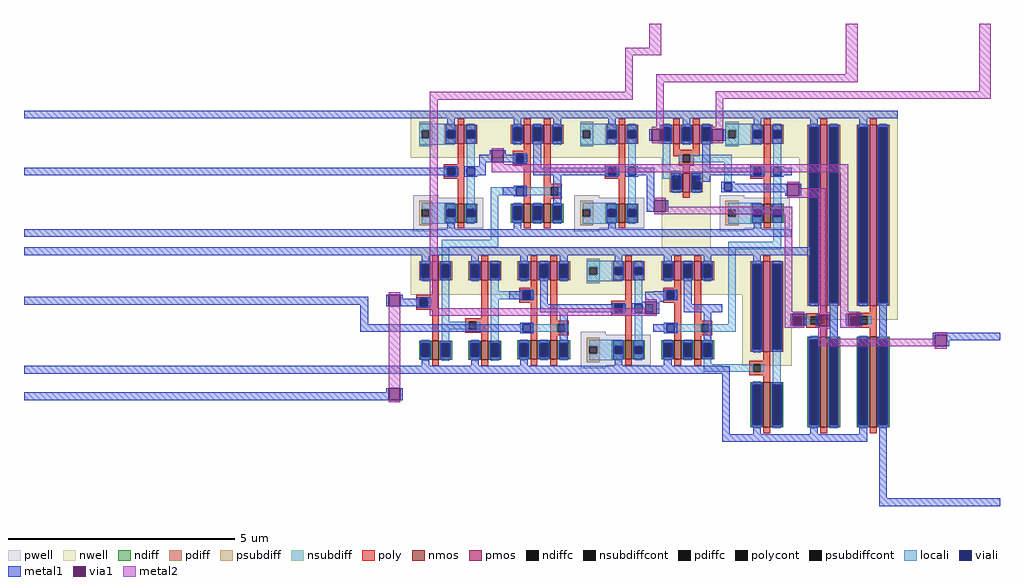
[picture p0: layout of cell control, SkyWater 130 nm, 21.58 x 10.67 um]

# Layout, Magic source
magic
tech sky130A
magscale 1 2
<< nwell >>
rect 301 918 377 1126
rect 1013 1012 1184 1126
rect 1013 918 1043 1012
rect 1045 918 1168 1012
rect 1080 912 1298 918
rect 1655 917 1689 1126
rect 1080 521 1298 710
rect 1348 520 1437 521
rect 1348 312 1436 520
rect 1654 202 1688 521
rect 1772 234 1806 783
<< poly >>
rect 1130 932 1248 954
rect 1130 924 1172 932
rect 1156 898 1172 924
rect 1206 924 1248 932
rect 1206 898 1221 924
rect 1156 882 1221 898
rect 1173 876 1204 882
rect 65 312 95 349
rect -6 295 95 312
rect -6 261 11 295
rect 45 261 95 295
rect -6 245 95 261
rect 65 121 95 245
rect 283 209 313 349
rect 1782 231 1812 238
rect 2000 232 2030 238
rect 211 193 313 209
rect 211 159 227 193
rect 261 159 313 193
rect 1720 215 1812 231
rect 1720 181 1736 215
rect 1770 181 1812 215
rect 1720 165 1812 181
rect 1941 216 2030 232
rect 1941 182 1958 216
rect 1992 182 2030 216
rect 1941 166 2030 182
rect 211 143 313 159
rect 1782 152 1812 165
rect 2000 152 2030 166
rect 283 135 313 143
rect 1530 21 1560 34
rect 1468 5 1560 21
rect 1468 -29 1484 5
rect 1518 -29 1560 5
rect 1468 -45 1560 -29
rect 1530 -48 1560 -45
<< polycont >>
rect 1172 898 1206 932
rect 11 261 45 295
rect 227 159 261 193
rect 1736 181 1770 215
rect 1958 182 1992 216
rect 1484 -29 1518 5
<< locali >>
rect 1084 860 1118 976
rect 1156 898 1172 932
rect 1206 898 1390 932
rect 1084 854 1162 860
rect 1084 826 1152 854
rect 1356 806 1390 898
rect 323 753 425 787
rect 323 555 357 753
rect 107 521 357 555
rect 1574 547 1608 627
rect 107 463 141 521
rect 1374 513 1608 547
rect -6 261 11 295
rect 45 261 61 295
rect 107 193 141 371
rect 325 327 359 371
rect 325 293 450 327
rect 107 159 227 193
rect 261 159 277 193
rect 107 113 141 159
rect 325 113 359 293
rect 1374 182 1408 513
rect 1304 148 1408 182
rect 1699 181 1736 215
rect 1770 181 1786 215
rect 1824 130 1858 260
rect 1947 182 1958 216
rect 1992 182 2008 216
rect 2042 130 2076 260
rect 1266 5 1300 23
rect 1266 -29 1484 5
rect 1518 -29 1534 5
rect 1572 -70 1606 56
<< viali >>
rect 1356 772 1390 806
rect 11 261 45 295
rect 1665 181 1699 215
rect 1913 182 1947 216
<< metal1 >>
rect -1740 1092 -29 1126
rect 301 1092 377 1126
rect 1013 1092 1328 1126
rect 1354 1092 2124 1126
rect 1172 1064 1206 1092
rect 1736 1064 1770 1092
rect 1954 1064 1988 1092
rect 1026 992 1036 1044
rect 1089 992 1099 1044
rect 1290 992 1300 1044
rect 1353 992 1363 1044
rect 319 932 329 950
rect 273 898 329 932
rect 381 898 391 950
rect 273 880 301 898
rect 265 874 301 880
rect 1260 874 1294 980
rect -1740 840 -29 874
rect 273 870 301 874
rect 1013 678 1047 874
rect 1260 850 1326 874
rect 1232 840 1326 850
rect 1232 812 1294 840
rect 1344 806 1402 812
rect 1344 772 1356 806
rect 1390 802 1402 806
rect 1390 772 1636 802
rect 1344 766 1636 772
rect 1626 750 1636 766
rect 1688 750 1698 802
rect 1099 678 1109 730
rect -1740 568 -29 602
rect 301 568 377 602
rect 1013 568 1326 602
rect -1740 487 407 521
rect 1348 487 1730 521
rect 19 459 53 487
rect 237 459 271 487
rect 1484 458 1518 487
rect -1740 268 -218 302
rect -252 182 -218 268
rect -138 261 -128 313
rect -76 295 -66 313
rect -1 295 57 301
rect -76 261 11 295
rect 45 261 57 295
rect 1008 293 1042 326
rect 1008 281 1090 293
rect -1 255 57 261
rect 997 229 1007 281
rect 1059 229 1069 281
rect -252 148 406 182
rect 1648 175 1658 227
rect 1710 175 1720 227
rect 1762 172 1772 224
rect 1824 126 1858 264
rect 1894 175 1904 227
rect 1956 175 1966 227
rect 2042 126 2076 264
rect 2278 136 2576 145
rect 2278 84 2288 136
rect 2341 111 2576 136
rect 2341 84 2351 111
rect 19 -3 53 25
rect 237 -3 271 25
rect -1740 -37 444 -3
rect -138 -120 -128 -102
rect -1740 -154 -128 -120
rect -76 -154 -66 -102
rect 1348 -305 1382 -4
rect 1484 -305 1518 -274
rect 1736 -305 1770 -274
rect 1954 -305 1988 -274
rect 1348 -339 1988 -305
rect 2042 -589 2076 -274
rect 2042 -623 2576 -589
<< via1 >>
rect 1036 992 1089 1044
rect 1300 992 1353 1044
rect 329 898 381 950
rect 1636 750 1688 802
rect 1047 678 1099 730
rect -128 261 -76 313
rect 1007 229 1059 281
rect 1658 215 1710 227
rect 1658 181 1665 215
rect 1665 181 1699 215
rect 1699 181 1710 215
rect 1658 175 1710 181
rect 1772 172 1824 224
rect 1904 216 1956 227
rect 1904 182 1913 216
rect 1913 182 1947 216
rect 1947 182 1956 216
rect 1904 175 1956 182
rect 2288 84 2341 136
rect -128 -154 -76 -102
<< metal2 >>
rect 1025 1404 1077 1510
rect 918 1370 1077 1404
rect 918 1209 952 1370
rect 1894 1286 1946 1510
rect 55 1175 952 1209
rect 1055 1252 1946 1286
rect 1055 1178 1090 1252
rect 2484 1212 2536 1510
rect 1319 1178 2536 1212
rect -128 313 -76 323
rect -128 -102 -76 261
rect 55 253 89 1175
rect 1055 1054 1089 1178
rect 1319 1054 1353 1178
rect 1036 1044 1089 1054
rect 1036 982 1089 992
rect 1300 1044 1353 1054
rect 1300 982 1353 992
rect 329 950 381 960
rect 329 889 381 898
rect 329 854 1904 889
rect 1636 802 1688 812
rect 1688 750 1806 783
rect 1636 740 1806 750
rect 1047 730 1099 740
rect 1099 678 1658 702
rect 1047 668 1658 678
rect 1007 281 1059 291
rect 55 229 1007 253
rect 55 219 1059 229
rect 1624 237 1658 668
rect 1624 227 1710 237
rect 1624 175 1658 227
rect 1624 165 1710 175
rect 1772 234 1806 740
rect 1870 237 1904 854
rect 1772 224 1824 234
rect 1772 162 1824 172
rect 1870 227 1956 237
rect 1870 175 1904 227
rect 1870 165 1956 175
rect 1772 118 1806 162
rect 2288 136 2341 146
rect 1772 84 2288 118
rect 2288 74 2341 84
rect -128 -164 -76 -154
use sky130_fd_pr__nfet_01v8_A6LSUL  m1
transform 1 0 80 0 1 67
box -73 -68 73 68
use sky130_fd_pr__pfet_01v8_4Y88KP  m2
transform 1 0 80 0 1 417
box -109 -104 109 104
use sky130_fd_pr__nfet_01v8_A6LSUL  m3
transform 1 0 298 0 1 67
box -73 -68 73 68
use sky130_fd_pr__pfet_01v8_4Y88KP  m4
transform 1 0 298 0 1 417
box -109 -104 109 104
use sky130_fd_pr__pfet_01v8_4Y88KP  m5
transform 1 0 1189 0 1 808
box -109 -104 109 104
use sky130_fd_pr__pfet_01v8_54MHNA  m6
transform 1 0 1797 0 1 664
box -109 -462 109 462
use sky130_fd_pr__nfet_01v8_JB3UY8  m7
transform 1 0 1797 0 1 -74
box -73 -226 73 226
use sky130_fd_pr__pfet_01v8_54MHNA  m8
transform 1 0 2015 0 1 664
box -109 -462 109 462
use sky130_fd_pr__nfet_01v8_JB3UY8  m9
transform 1 0 2015 0 1 -74
box -73 -226 73 226
use nand2_f  nand2_f_0 ~/Desktop/FabRAM/FE/sram130/nand2
transform 1 0 406 0 1 -175
box 0 138 306 696
use nand2_f  nand2_f_1
transform 1 0 1042 0 1 -175
box 0 138 306 696
use nand2_f  nand2_f_2
transform 1 0 377 0 1 430
box 0 138 306 696
use not_f  not_f_0 ~/Desktop/FabRAM/FE/sram130/not
transform 1 0 712 0 1 -175
box 0 138 330 696
use not_f  not_f_1
transform 1 0 -29 0 1 430
box 0 138 330 696
use not_f  not_f_2
transform 1 0 683 0 1 430
box 0 138 330 696
use not_f  not_f_3
transform 1 0 1326 0 1 430
box 0 138 330 696
use sky130_fd_pr__nfet_01v8_L8ATA9  sky130_fd_pr__nfet_01v8_L8ATA9_0
transform 1 0 1545 0 1 -174
box -73 -126 73 126
use sky130_fd_pr__pfet_01v8_4Y88KP  sky130_fd_pr__pfet_01v8_4Y88KP_0
transform -1 0 1145 0 1 1022
box -109 -104 109 104
use sky130_fd_pr__pfet_01v8_4Y88KP  sky130_fd_pr__pfet_01v8_4Y88KP_1
transform 1 0 1233 0 1 1022
box -109 -104 109 104
use sky130_fd_pr__pfet_01v8_5YUHNA  sky130_fd_pr__pfet_01v8_5YUHNA_0
transform 1 0 1545 0 1 259
box -109 -262 109 262
<< end >>

# cell sky130_fd_pr__nfet_01v8_A6LSUL: kit device sky130_fd_pr__nfet_01v8, w 0.420 l 0.150 m 1 nf 1 diffcov 100 polycov 100 guard 0 glc 0 grc 0 gtc 0 gbc 0 tbcov 100 rlcov 100 topc 0 botc 0 poverlap 0 doverlap 0 lmin 0.15 wmin 0.42 compatible {sky130_fd_pr__nfet_01v8 sky130_fd_pr__nfet_01v8_lvt sky130_fd_bs_flash__special_sonosfet_star sky130_fd_pr__nfet_g5v0d10v5 sky130_fd_pr__nfet_05v0_nvt sky130_fd_pr__nfet_03v3_nvt} full_metal 0 viasrc 100 viadrn 100 viagate 100 viagb 0 viagr 0 viagl 0 viagt 0

# cell sky130_fd_pr__pfet_01v8_4Y88KP: kit device sky130_fd_pr__pfet_01v8, w 0.42 l 0.15 m 1 nf 1 diffcov 100 polycov 100 guard 0 glc 0 grc 0 gtc 0 gbc 0 tbcov 100 rlcov 100 topc 0 botc 0 poverlap 0 doverlap 0 lmin 0.15 wmin 0.42 compatible {sky130_fd_pr__pfet_01v8 sky130_fd_pr__pfet_01v8_lvt sky130_fd_pr__pfet_01v8_hvt sky130_fd_pr__pfet_g5v0d10v5} full_metal 0 viasrc 100 viadrn 100 viagate 100 viagb 0 viagr 0 viagl 0 viagt 0

# cell sky130_fd_pr__pfet_01v8_54MHNA: kit device sky130_fd_pr__pfet_01v8, w 4 l 0.15 m 1 nf 1 diffcov 100 polycov 100 guard 0 glc 0 grc 0 gtc 0 gbc 0 tbcov 100 rlcov 100 topc 0 botc 0 poverlap 0 doverlap 0 lmin 0.15 wmin 0.42 compatible {sky130_fd_pr__pfet_01v8 sky130_fd_pr__pfet_01v8_lvt sky130_fd_pr__pfet_01v8_hvt sky130_fd_pr__pfet_g5v0d10v5} full_metal 0 viasrc 100 viadrn 100 viagate 100 viagb 0 viagr 0 viagl 0 viagt 0

# cell sky130_fd_pr__nfet_01v8_JB3UY8: kit device sky130_fd_pr__nfet_01v8, w 2 l 0.150 m 1 nf 1 diffcov 100 polycov 100 guard 0 glc 0 grc 0 gtc 0 gbc 0 tbcov 100 rlcov 100 topc 0 botc 0 poverlap 0 doverlap 0 lmin 0.15 wmin 0.42 compatible {sky130_fd_pr__nfet_01v8 sky130_fd_pr__nfet_01v8_lvt sky130_fd_bs_flash__special_sonosfet_star sky130_fd_pr__nfet_g5v0d10v5 sky130_fd_pr__nfet_05v0_nvt sky130_fd_pr__nfet_03v3_nvt} full_metal 0 viasrc 100 viadrn 100 viagate 100 viagb 0 viagr 0 viagl 0 viagt 0

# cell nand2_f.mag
magic
tech sky130A
magscale 1 2
<< nwell >>
rect 0 488 306 696
<< nmos >>
rect 94 201 124 285
rect 182 201 212 285
<< pmos >>
rect 94 550 124 634
rect 182 550 212 634
<< ndiff >>
rect 36 273 94 285
rect 36 213 48 273
rect 82 213 94 273
rect 36 201 94 213
rect 124 273 182 285
rect 124 213 136 273
rect 170 213 182 273
rect 124 201 182 213
rect 212 273 270 285
rect 212 213 224 273
rect 258 213 270 273
rect 212 201 270 213
<< pdiff >>
rect 36 622 94 634
rect 36 562 48 622
rect 82 562 94 622
rect 36 550 94 562
rect 124 622 182 634
rect 124 562 136 622
rect 170 562 182 622
rect 124 550 182 562
rect 212 622 270 634
rect 212 562 224 622
rect 258 562 270 622
rect 212 550 270 562
<< ndiffc >>
rect 48 213 82 273
rect 136 213 170 273
rect 224 213 258 273
<< pdiffc >>
rect 48 562 82 622
rect 136 562 170 622
rect 224 562 258 622
<< poly >>
rect 94 634 124 660
rect 182 634 212 660
rect 94 518 124 550
rect 44 502 124 518
rect 44 468 60 502
rect 94 468 124 502
rect 44 452 124 468
rect 94 285 124 452
rect 182 373 212 550
rect 182 357 262 373
rect 182 323 212 357
rect 246 323 262 357
rect 182 307 262 323
rect 182 285 212 307
rect 94 175 124 201
rect 182 175 212 201
<< polycont >>
rect 60 468 94 502
rect 212 323 246 357
<< locali >>
rect 48 622 82 638
rect 48 546 82 562
rect 136 622 170 638
rect 136 546 170 562
rect 224 622 258 638
rect 224 546 258 562
rect 44 468 60 502
rect 94 468 110 502
rect 48 323 60 357
rect 94 323 212 357
rect 246 323 262 357
rect 48 273 82 289
rect 48 197 82 213
rect 136 273 170 289
rect 136 197 170 213
rect 224 273 258 289
rect 224 197 258 213
<< viali >>
rect 48 562 82 622
rect 136 562 170 622
rect 224 562 258 622
rect 60 468 94 502
rect 60 323 94 357
rect 48 213 82 273
rect 136 213 170 273
rect 224 213 258 273
<< metal1 >>
rect 0 662 306 696
rect 48 634 82 662
rect 224 634 258 662
rect 42 622 88 634
rect 42 562 48 622
rect 82 562 88 622
rect 42 550 88 562
rect 130 622 176 634
rect 130 562 136 622
rect 170 562 176 622
rect 130 550 176 562
rect 218 622 264 634
rect 218 562 224 622
rect 258 562 264 622
rect 218 550 264 562
rect 48 502 106 508
rect 0 468 60 502
rect 94 468 106 502
rect 48 462 106 468
rect 136 444 170 550
rect 136 410 306 444
rect 48 357 106 363
rect 0 323 60 357
rect 94 323 106 357
rect 48 317 106 323
rect 224 285 258 410
rect 42 273 88 285
rect 42 213 48 273
rect 82 213 88 273
rect 42 201 88 213
rect 130 273 176 285
rect 130 213 136 273
rect 170 213 176 273
rect 130 201 176 213
rect 218 273 264 285
rect 218 213 224 273
rect 258 213 264 273
rect 218 201 264 213
rect 48 172 82 201
rect 0 138 306 172
<< labels >>
rlabel metal1 0 662 34 696 0 VDD
rlabel metal1 0 468 34 502 0 A
rlabel metal1 0 323 34 357 0 B
rlabel metal1 0 138 34 172 0 VSS
rlabel metal1 272 410 306 444 0 Y
<< end >>

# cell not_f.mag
magic
tech sky130A
magscale 1 2
<< nwell >>
rect 0 488 330 696
<< pwell >>
rect 10 311 120 323
rect 10 175 320 311
rect 10 163 120 175
<< nmos >>
rect 206 201 236 285
<< pmos >>
rect 206 550 236 634
<< ndiff >>
rect 148 260 206 285
rect 148 226 160 260
rect 194 226 206 260
rect 148 201 206 226
rect 236 260 294 285
rect 236 226 248 260
rect 282 226 294 260
rect 236 201 294 226
<< pdiff >>
rect 148 609 206 634
rect 148 575 160 609
rect 194 575 206 609
rect 148 550 206 575
rect 236 609 294 634
rect 236 575 248 609
rect 282 575 294 609
rect 236 550 294 575
<< ndiffc >>
rect 160 226 194 260
rect 248 226 282 260
<< pdiffc >>
rect 160 575 194 609
rect 248 575 282 609
<< psubdiff >>
rect 36 260 94 297
rect 36 226 48 260
rect 82 226 94 260
rect 36 189 94 226
<< nsubdiff >>
rect 36 609 94 646
rect 36 575 48 609
rect 82 575 94 609
rect 36 538 94 575
<< psubdiffcont >>
rect 48 226 82 260
<< nsubdiffcont >>
rect 48 575 82 609
<< poly >>
rect 206 634 236 660
rect 206 460 236 550
rect 145 444 236 460
rect 145 410 161 444
rect 195 410 236 444
rect 145 394 236 410
rect 206 285 236 394
rect 206 175 236 201
<< polycont >>
rect 161 410 195 444
<< locali >>
rect 36 609 194 638
rect 36 575 48 609
rect 82 575 160 609
rect 36 546 194 575
rect 248 609 282 638
rect 248 444 282 575
rect 145 410 161 444
rect 195 410 211 444
rect 48 260 194 289
rect 82 226 160 260
rect 48 197 194 226
rect 248 260 282 410
rect 248 197 282 226
<< viali >>
rect 160 575 194 609
rect 248 575 282 609
rect 161 410 195 444
rect 248 410 282 444
rect 160 226 194 260
rect 248 226 282 260
<< metal1 >>
rect 0 662 330 696
rect 160 634 194 662
rect 154 609 200 634
rect 154 575 160 609
rect 194 575 200 609
rect 154 550 200 575
rect 242 609 288 634
rect 242 575 248 609
rect 282 575 288 609
rect 242 550 288 575
rect 149 444 207 450
rect 0 410 161 444
rect 195 410 207 444
rect 149 404 207 410
rect 236 444 294 450
rect 236 410 248 444
rect 282 410 330 444
rect 236 404 294 410
rect 154 260 200 285
rect 154 226 160 260
rect 194 226 200 260
rect 154 201 200 226
rect 242 260 288 285
rect 242 226 248 260
rect 282 226 288 260
rect 242 201 288 226
rect 160 172 194 201
rect 0 138 330 172
<< labels >>
flabel metal1 s 296 410 330 444 0 FreeSans 44 0 0 0 B
port 1 nsew
flabel metal1 s 0 662 34 696 0 FreeSans 44 0 0 0 VDD
port 2 nsew
flabel metal1 s 0 410 34 444 0 FreeSans 44 0 0 0 A
port 3 nsew
flabel metal1 s 0 138 34 172 0 FreeSans 44 0 0 0 VSS
port 4 nsew
<< end >>

# cell sky130_fd_pr__nfet_01v8_L8ATA9: kit device sky130_fd_pr__nfet_01v8, w 1 l 0.150 m 1 nf 1 diffcov 100 polycov 100 guard 0 glc 0 grc 0 gtc 0 gbc 0 tbcov 100 rlcov 100 topc 0 botc 0 poverlap 0 doverlap 0 lmin 0.15 wmin 0.42 compatible {sky130_fd_pr__nfet_01v8 sky130_fd_pr__nfet_01v8_lvt sky130_fd_bs_flash__special_sonosfet_star sky130_fd_pr__nfet_g5v0d10v5 sky130_fd_pr__nfet_05v0_nvt sky130_fd_pr__nfet_03v3_nvt} full_metal 0 viasrc 100 viadrn 100 viagate 100 viagb 0 viagr 0 viagl 0 viagt 0

# cell sky130_fd_pr__pfet_01v8_5YUHNA: kit device sky130_fd_pr__pfet_01v8, w 2 l 0.15 m 1 nf 1 diffcov 100 polycov 100 guard 0 glc 0 grc 0 gtc 0 gbc 0 tbcov 100 rlcov 100 topc 0 botc 0 poverlap 0 doverlap 0 lmin 0.15 wmin 0.42 compatible {sky130_fd_pr__pfet_01v8 sky130_fd_pr__pfet_01v8_lvt sky130_fd_pr__pfet_01v8_hvt sky130_fd_pr__pfet_g5v0d10v5} full_metal 0 viasrc 100 viadrn 100 viagate 100 viagb 0 viagr 0 viagl 0 viagt 0
